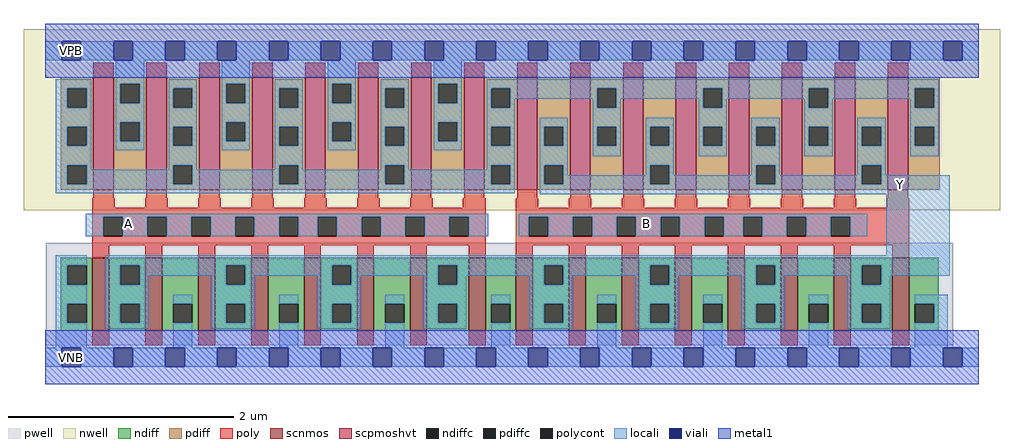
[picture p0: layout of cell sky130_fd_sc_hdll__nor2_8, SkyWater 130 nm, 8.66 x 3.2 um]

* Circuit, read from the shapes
.subckt sky130_fd_sc_hdll__nor2_8 A B VGND VNB VPB VPWR Y
XM1 Y A VGND VNB sky130_fd_pr__nfet_01v8 w=0.65 l=0.15 m=8
XM2 Y B VGND VNB sky130_fd_pr__nfet_01v8 w=0.65 l=0.15 m=8
XM3 VPWR A n1 VPB sky130_fd_pr__pfet_01v8_hvt w=1 l=0.18 m=8
XM4 Y B n1 VPB sky130_fd_pr__pfet_01v8_hvt w=1 l=0.18 m=8
.ends

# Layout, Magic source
magic
tech sky130A
magscale 1 2
<< nwell >>
rect -38 261 1694 582
<< pwell >>
rect 1 21 1611 203
rect 29 -17 63 21
<< scnmos >>
rect 83 47 113 177
rect 177 47 207 177
rect 271 47 301 177
rect 365 47 395 177
rect 459 47 489 177
rect 553 47 583 177
rect 647 47 677 177
rect 751 47 781 177
rect 835 47 865 177
rect 929 47 959 177
rect 1023 47 1053 177
rect 1117 47 1147 177
rect 1211 47 1241 177
rect 1305 47 1335 177
rect 1399 47 1429 177
rect 1503 47 1533 177
<< scpmoshvt >>
rect 85 297 121 497
rect 179 297 215 497
rect 273 297 309 497
rect 367 297 403 497
rect 461 297 497 497
rect 555 297 591 497
rect 649 297 685 497
rect 743 297 779 497
rect 837 297 873 497
rect 931 297 967 497
rect 1025 297 1061 497
rect 1119 297 1155 497
rect 1213 297 1249 497
rect 1307 297 1343 497
rect 1401 297 1437 497
rect 1495 297 1531 497
<< ndiff >>
rect 27 163 83 177
rect 27 129 39 163
rect 73 129 83 163
rect 27 95 83 129
rect 27 61 39 95
rect 73 61 83 95
rect 27 47 83 61
rect 113 163 177 177
rect 113 129 133 163
rect 167 129 177 163
rect 113 95 177 129
rect 113 61 133 95
rect 167 61 177 95
rect 113 47 177 61
rect 207 95 271 177
rect 207 61 227 95
rect 261 61 271 95
rect 207 47 271 61
rect 301 163 365 177
rect 301 129 321 163
rect 355 129 365 163
rect 301 95 365 129
rect 301 61 321 95
rect 355 61 365 95
rect 301 47 365 61
rect 395 95 459 177
rect 395 61 415 95
rect 449 61 459 95
rect 395 47 459 61
rect 489 163 553 177
rect 489 129 509 163
rect 543 129 553 163
rect 489 95 553 129
rect 489 61 509 95
rect 543 61 553 95
rect 489 47 553 61
rect 583 95 647 177
rect 583 61 603 95
rect 637 61 647 95
rect 583 47 647 61
rect 677 163 751 177
rect 677 129 697 163
rect 731 129 751 163
rect 677 95 751 129
rect 677 61 697 95
rect 731 61 751 95
rect 677 47 751 61
rect 781 95 835 177
rect 781 61 791 95
rect 825 61 835 95
rect 781 47 835 61
rect 865 163 929 177
rect 865 129 885 163
rect 919 129 929 163
rect 865 95 929 129
rect 865 61 885 95
rect 919 61 929 95
rect 865 47 929 61
rect 959 95 1023 177
rect 959 61 979 95
rect 1013 61 1023 95
rect 959 47 1023 61
rect 1053 163 1117 177
rect 1053 129 1073 163
rect 1107 129 1117 163
rect 1053 95 1117 129
rect 1053 61 1073 95
rect 1107 61 1117 95
rect 1053 47 1117 61
rect 1147 95 1211 177
rect 1147 61 1167 95
rect 1201 61 1211 95
rect 1147 47 1211 61
rect 1241 163 1305 177
rect 1241 129 1261 163
rect 1295 129 1305 163
rect 1241 95 1305 129
rect 1241 61 1261 95
rect 1295 61 1305 95
rect 1241 47 1305 61
rect 1335 95 1399 177
rect 1335 61 1355 95
rect 1389 61 1399 95
rect 1335 47 1399 61
rect 1429 163 1503 177
rect 1429 129 1449 163
rect 1483 129 1503 163
rect 1429 95 1503 129
rect 1429 61 1449 95
rect 1483 61 1503 95
rect 1429 47 1503 61
rect 1533 95 1585 177
rect 1533 61 1543 95
rect 1577 61 1585 95
rect 1533 47 1585 61
<< pdiff >>
rect 27 477 85 497
rect 27 443 39 477
rect 73 443 85 477
rect 27 409 85 443
rect 27 375 39 409
rect 73 375 85 409
rect 27 341 85 375
rect 27 307 39 341
rect 73 307 85 341
rect 27 297 85 307
rect 121 485 179 497
rect 121 451 133 485
rect 167 451 179 485
rect 121 417 179 451
rect 121 383 133 417
rect 167 383 179 417
rect 121 297 179 383
rect 215 477 273 497
rect 215 443 227 477
rect 261 443 273 477
rect 215 409 273 443
rect 215 375 227 409
rect 261 375 273 409
rect 215 341 273 375
rect 215 307 227 341
rect 261 307 273 341
rect 215 297 273 307
rect 309 485 367 497
rect 309 451 321 485
rect 355 451 367 485
rect 309 417 367 451
rect 309 383 321 417
rect 355 383 367 417
rect 309 297 367 383
rect 403 477 461 497
rect 403 443 415 477
rect 449 443 461 477
rect 403 409 461 443
rect 403 375 415 409
rect 449 375 461 409
rect 403 341 461 375
rect 403 307 415 341
rect 449 307 461 341
rect 403 297 461 307
rect 497 485 555 497
rect 497 451 509 485
rect 543 451 555 485
rect 497 417 555 451
rect 497 383 509 417
rect 543 383 555 417
rect 497 297 555 383
rect 591 477 649 497
rect 591 443 603 477
rect 637 443 649 477
rect 591 409 649 443
rect 591 375 603 409
rect 637 375 649 409
rect 591 341 649 375
rect 591 307 603 341
rect 637 307 649 341
rect 591 297 649 307
rect 685 485 743 497
rect 685 451 697 485
rect 731 451 743 485
rect 685 417 743 451
rect 685 383 697 417
rect 731 383 743 417
rect 685 297 743 383
rect 779 477 837 497
rect 779 443 791 477
rect 825 443 837 477
rect 779 409 837 443
rect 779 375 791 409
rect 825 375 837 409
rect 779 341 837 375
rect 779 307 791 341
rect 825 307 837 341
rect 779 297 837 307
rect 873 409 931 497
rect 873 375 885 409
rect 919 375 931 409
rect 873 341 931 375
rect 873 307 885 341
rect 919 307 931 341
rect 873 297 931 307
rect 967 477 1025 497
rect 967 443 979 477
rect 1013 443 1025 477
rect 967 409 1025 443
rect 967 375 979 409
rect 1013 375 1025 409
rect 967 297 1025 375
rect 1061 409 1119 497
rect 1061 375 1073 409
rect 1107 375 1119 409
rect 1061 341 1119 375
rect 1061 307 1073 341
rect 1107 307 1119 341
rect 1061 297 1119 307
rect 1155 477 1213 497
rect 1155 443 1167 477
rect 1201 443 1213 477
rect 1155 409 1213 443
rect 1155 375 1167 409
rect 1201 375 1213 409
rect 1155 297 1213 375
rect 1249 409 1307 497
rect 1249 375 1261 409
rect 1295 375 1307 409
rect 1249 341 1307 375
rect 1249 307 1261 341
rect 1295 307 1307 341
rect 1249 297 1307 307
rect 1343 477 1401 497
rect 1343 443 1355 477
rect 1389 443 1401 477
rect 1343 409 1401 443
rect 1343 375 1355 409
rect 1389 375 1401 409
rect 1343 297 1401 375
rect 1437 409 1495 497
rect 1437 375 1449 409
rect 1483 375 1495 409
rect 1437 341 1495 375
rect 1437 307 1449 341
rect 1483 307 1495 341
rect 1437 297 1495 307
rect 1531 477 1587 497
rect 1531 443 1543 477
rect 1577 443 1587 477
rect 1531 409 1587 443
rect 1531 375 1543 409
rect 1577 375 1587 409
rect 1531 297 1587 375
<< ndiffc >>
rect 39 129 73 163
rect 39 61 73 95
rect 133 129 167 163
rect 133 61 167 95
rect 227 61 261 95
rect 321 129 355 163
rect 321 61 355 95
rect 415 61 449 95
rect 509 129 543 163
rect 509 61 543 95
rect 603 61 637 95
rect 697 129 731 163
rect 697 61 731 95
rect 791 61 825 95
rect 885 129 919 163
rect 885 61 919 95
rect 979 61 1013 95
rect 1073 129 1107 163
rect 1073 61 1107 95
rect 1167 61 1201 95
rect 1261 129 1295 163
rect 1261 61 1295 95
rect 1355 61 1389 95
rect 1449 129 1483 163
rect 1449 61 1483 95
rect 1543 61 1577 95
<< pdiffc >>
rect 39 443 73 477
rect 39 375 73 409
rect 39 307 73 341
rect 133 451 167 485
rect 133 383 167 417
rect 227 443 261 477
rect 227 375 261 409
rect 227 307 261 341
rect 321 451 355 485
rect 321 383 355 417
rect 415 443 449 477
rect 415 375 449 409
rect 415 307 449 341
rect 509 451 543 485
rect 509 383 543 417
rect 603 443 637 477
rect 603 375 637 409
rect 603 307 637 341
rect 697 451 731 485
rect 697 383 731 417
rect 791 443 825 477
rect 791 375 825 409
rect 791 307 825 341
rect 885 375 919 409
rect 885 307 919 341
rect 979 443 1013 477
rect 979 375 1013 409
rect 1073 375 1107 409
rect 1073 307 1107 341
rect 1167 443 1201 477
rect 1167 375 1201 409
rect 1261 375 1295 409
rect 1261 307 1295 341
rect 1355 443 1389 477
rect 1355 375 1389 409
rect 1449 375 1483 409
rect 1449 307 1483 341
rect 1543 443 1577 477
rect 1543 375 1577 409
<< poly >>
rect 85 497 121 523
rect 179 497 215 523
rect 273 497 309 523
rect 367 497 403 523
rect 461 497 497 523
rect 555 497 591 523
rect 649 497 685 523
rect 743 497 779 523
rect 837 497 873 523
rect 931 497 967 523
rect 1025 497 1061 523
rect 1119 497 1155 523
rect 1213 497 1249 523
rect 1307 497 1343 523
rect 1401 497 1437 523
rect 1495 497 1531 523
rect 85 282 121 297
rect 179 282 215 297
rect 273 282 309 297
rect 367 282 403 297
rect 461 282 497 297
rect 555 282 591 297
rect 649 282 685 297
rect 743 282 779 297
rect 837 282 873 297
rect 931 282 967 297
rect 1025 282 1061 297
rect 1119 282 1155 297
rect 1213 282 1249 297
rect 1307 282 1343 297
rect 1401 282 1437 297
rect 1495 282 1531 297
rect 83 265 123 282
rect 177 265 217 282
rect 271 265 311 282
rect 365 265 405 282
rect 459 265 499 282
rect 553 265 593 282
rect 647 265 687 282
rect 741 265 781 282
rect 83 249 781 265
rect 83 215 103 249
rect 137 215 181 249
rect 215 215 259 249
rect 293 215 337 249
rect 371 215 415 249
rect 449 215 483 249
rect 517 215 561 249
rect 595 215 639 249
rect 673 215 717 249
rect 751 215 781 249
rect 83 199 781 215
rect 83 177 113 199
rect 177 177 207 199
rect 271 177 301 199
rect 365 177 395 199
rect 459 177 489 199
rect 553 177 583 199
rect 647 177 677 199
rect 751 177 781 199
rect 835 265 875 282
rect 929 265 969 282
rect 1023 265 1063 282
rect 1117 265 1157 282
rect 1211 265 1251 282
rect 1305 265 1345 282
rect 1399 265 1439 282
rect 1493 265 1533 282
rect 835 249 1533 265
rect 835 215 858 249
rect 892 215 936 249
rect 970 215 1014 249
rect 1048 215 1092 249
rect 1126 215 1170 249
rect 1204 215 1238 249
rect 1272 215 1316 249
rect 1350 215 1394 249
rect 1428 215 1533 249
rect 835 199 1533 215
rect 835 177 865 199
rect 929 177 959 199
rect 1023 177 1053 199
rect 1117 177 1147 199
rect 1211 177 1241 199
rect 1305 177 1335 199
rect 1399 177 1429 199
rect 1503 177 1533 199
rect 83 21 113 47
rect 177 21 207 47
rect 271 21 301 47
rect 365 21 395 47
rect 459 21 489 47
rect 553 21 583 47
rect 647 21 677 47
rect 751 21 781 47
rect 835 21 865 47
rect 929 21 959 47
rect 1023 21 1053 47
rect 1117 21 1147 47
rect 1211 21 1241 47
rect 1305 21 1335 47
rect 1399 21 1429 47
rect 1503 21 1533 47
<< polycont >>
rect 103 215 137 249
rect 181 215 215 249
rect 259 215 293 249
rect 337 215 371 249
rect 415 215 449 249
rect 483 215 517 249
rect 561 215 595 249
rect 639 215 673 249
rect 717 215 751 249
rect 858 215 892 249
rect 936 215 970 249
rect 1014 215 1048 249
rect 1092 215 1126 249
rect 1170 215 1204 249
rect 1238 215 1272 249
rect 1316 215 1350 249
rect 1394 215 1428 249
<< locali >>
rect 0 527 29 561
rect 63 527 121 561
rect 155 527 213 561
rect 247 527 305 561
rect 339 527 397 561
rect 431 527 489 561
rect 523 527 581 561
rect 615 527 673 561
rect 707 527 765 561
rect 799 527 857 561
rect 891 527 949 561
rect 983 527 1041 561
rect 1075 527 1133 561
rect 1167 527 1225 561
rect 1259 527 1317 561
rect 1351 527 1409 561
rect 1443 527 1501 561
rect 1535 527 1593 561
rect 1627 527 1656 561
rect 18 477 81 493
rect 18 443 39 477
rect 73 443 81 477
rect 18 409 81 443
rect 18 375 39 409
rect 73 375 81 409
rect 18 341 81 375
rect 125 485 175 527
rect 125 451 133 485
rect 167 451 175 485
rect 125 417 175 451
rect 125 383 133 417
rect 167 383 175 417
rect 125 367 175 383
rect 219 477 269 493
rect 219 443 227 477
rect 261 443 269 477
rect 219 409 269 443
rect 219 375 227 409
rect 261 375 269 409
rect 18 307 39 341
rect 73 333 81 341
rect 219 341 269 375
rect 313 485 363 527
rect 313 451 321 485
rect 355 451 363 485
rect 313 417 363 451
rect 313 383 321 417
rect 355 383 363 417
rect 313 367 363 383
rect 407 477 457 493
rect 407 443 415 477
rect 449 443 457 477
rect 407 409 457 443
rect 407 375 415 409
rect 449 375 457 409
rect 219 333 227 341
rect 73 307 227 333
rect 261 333 269 341
rect 407 341 457 375
rect 501 485 551 527
rect 501 451 509 485
rect 543 451 551 485
rect 501 417 551 451
rect 501 383 509 417
rect 543 383 551 417
rect 501 367 551 383
rect 595 477 645 493
rect 595 443 603 477
rect 637 443 645 477
rect 595 409 645 443
rect 595 375 603 409
rect 637 375 645 409
rect 407 333 415 341
rect 261 307 415 333
rect 449 333 457 341
rect 595 341 645 375
rect 689 485 739 527
rect 689 451 697 485
rect 731 451 739 485
rect 689 417 739 451
rect 689 383 697 417
rect 731 383 739 417
rect 689 367 739 383
rect 783 477 1585 493
rect 783 443 791 477
rect 825 459 979 477
rect 825 443 833 459
rect 783 409 833 443
rect 971 443 979 459
rect 1013 459 1167 477
rect 1013 443 1021 459
rect 783 375 791 409
rect 825 375 833 409
rect 595 333 603 341
rect 449 307 603 333
rect 637 333 645 341
rect 783 341 833 375
rect 783 333 791 341
rect 637 307 791 333
rect 825 307 833 341
rect 18 291 833 307
rect 877 409 927 425
rect 877 375 885 409
rect 919 375 927 409
rect 877 341 927 375
rect 971 409 1021 443
rect 1159 443 1167 459
rect 1201 459 1355 477
rect 1201 443 1209 459
rect 971 375 979 409
rect 1013 375 1021 409
rect 971 357 1021 375
rect 1065 409 1115 425
rect 1065 375 1073 409
rect 1107 375 1115 409
rect 877 307 885 341
rect 919 323 927 341
rect 1065 341 1115 375
rect 1159 409 1209 443
rect 1347 443 1355 459
rect 1389 459 1543 477
rect 1389 443 1397 459
rect 1159 375 1167 409
rect 1201 375 1209 409
rect 1159 357 1209 375
rect 1253 409 1303 425
rect 1253 375 1261 409
rect 1295 375 1303 409
rect 1065 323 1073 341
rect 919 307 1073 323
rect 1107 323 1115 341
rect 1253 341 1303 375
rect 1347 409 1397 443
rect 1535 443 1543 459
rect 1577 443 1585 477
rect 1347 375 1355 409
rect 1389 375 1397 409
rect 1347 357 1397 375
rect 1441 409 1491 425
rect 1441 375 1449 409
rect 1483 375 1491 409
rect 1253 323 1261 341
rect 1107 307 1261 323
rect 1295 323 1303 341
rect 1441 341 1491 375
rect 1535 409 1585 443
rect 1535 375 1543 409
rect 1577 375 1585 409
rect 1535 357 1585 375
rect 1441 323 1449 341
rect 1295 307 1449 323
rect 1483 323 1491 341
rect 1483 307 1605 323
rect 877 289 1605 307
rect 72 249 786 255
rect 72 215 103 249
rect 137 215 181 249
rect 215 215 259 249
rect 293 215 337 249
rect 371 215 415 249
rect 449 215 483 249
rect 517 215 561 249
rect 595 215 639 249
rect 673 215 717 249
rect 751 215 786 249
rect 840 249 1458 255
rect 840 215 858 249
rect 892 215 936 249
rect 970 215 1014 249
rect 1048 215 1092 249
rect 1126 215 1170 249
rect 1204 215 1238 249
rect 1272 215 1316 249
rect 1350 215 1394 249
rect 1428 215 1458 249
rect 1492 181 1605 289
rect 18 163 73 181
rect 18 129 39 163
rect 18 95 73 129
rect 18 61 39 95
rect 18 17 73 61
rect 107 163 1605 181
rect 107 129 133 163
rect 167 145 321 163
rect 167 129 183 145
rect 107 95 183 129
rect 295 129 321 145
rect 355 145 509 163
rect 355 129 371 145
rect 107 61 133 95
rect 167 61 183 95
rect 107 51 183 61
rect 227 95 261 111
rect 227 17 261 61
rect 295 95 371 129
rect 483 129 509 145
rect 543 145 697 163
rect 543 129 559 145
rect 295 61 321 95
rect 355 61 371 95
rect 295 51 371 61
rect 415 95 449 111
rect 415 17 449 61
rect 483 95 559 129
rect 671 129 697 145
rect 731 145 885 163
rect 731 129 747 145
rect 483 61 509 95
rect 543 61 559 95
rect 483 51 559 61
rect 603 95 637 111
rect 603 17 637 61
rect 671 95 747 129
rect 859 129 885 145
rect 919 145 1073 163
rect 919 129 935 145
rect 671 61 697 95
rect 731 61 747 95
rect 671 51 747 61
rect 791 95 825 111
rect 791 17 825 61
rect 859 95 935 129
rect 1047 129 1073 145
rect 1107 145 1261 163
rect 1107 129 1123 145
rect 859 61 885 95
rect 919 61 935 95
rect 859 51 935 61
rect 979 95 1013 111
rect 979 17 1013 61
rect 1047 95 1123 129
rect 1235 129 1261 145
rect 1295 145 1449 163
rect 1295 129 1311 145
rect 1047 61 1073 95
rect 1107 61 1123 95
rect 1047 51 1123 61
rect 1167 95 1201 111
rect 1167 17 1201 61
rect 1235 95 1311 129
rect 1423 129 1449 145
rect 1483 145 1605 163
rect 1483 129 1499 145
rect 1235 61 1261 95
rect 1295 61 1311 95
rect 1235 51 1311 61
rect 1355 95 1389 111
rect 1355 17 1389 61
rect 1423 95 1499 129
rect 1423 61 1449 95
rect 1483 61 1499 95
rect 1423 51 1499 61
rect 1543 95 1601 111
rect 1577 61 1601 95
rect 1543 17 1601 61
rect 0 -17 29 17
rect 63 -17 121 17
rect 155 -17 213 17
rect 247 -17 305 17
rect 339 -17 397 17
rect 431 -17 489 17
rect 523 -17 581 17
rect 615 -17 673 17
rect 707 -17 765 17
rect 799 -17 857 17
rect 891 -17 949 17
rect 983 -17 1041 17
rect 1075 -17 1133 17
rect 1167 -17 1225 17
rect 1259 -17 1317 17
rect 1351 -17 1409 17
rect 1443 -17 1501 17
rect 1535 -17 1593 17
rect 1627 -17 1656 17
<< viali >>
rect 29 527 63 561
rect 121 527 155 561
rect 213 527 247 561
rect 305 527 339 561
rect 397 527 431 561
rect 489 527 523 561
rect 581 527 615 561
rect 673 527 707 561
rect 765 527 799 561
rect 857 527 891 561
rect 949 527 983 561
rect 1041 527 1075 561
rect 1133 527 1167 561
rect 1225 527 1259 561
rect 1317 527 1351 561
rect 1409 527 1443 561
rect 1501 527 1535 561
rect 1593 527 1627 561
rect 29 -17 63 17
rect 121 -17 155 17
rect 213 -17 247 17
rect 305 -17 339 17
rect 397 -17 431 17
rect 489 -17 523 17
rect 581 -17 615 17
rect 673 -17 707 17
rect 765 -17 799 17
rect 857 -17 891 17
rect 949 -17 983 17
rect 1041 -17 1075 17
rect 1133 -17 1167 17
rect 1225 -17 1259 17
rect 1317 -17 1351 17
rect 1409 -17 1443 17
rect 1501 -17 1535 17
rect 1593 -17 1627 17
<< metal1 >>
rect 0 561 1656 592
rect 0 527 29 561
rect 63 527 121 561
rect 155 527 213 561
rect 247 527 305 561
rect 339 527 397 561
rect 431 527 489 561
rect 523 527 581 561
rect 615 527 673 561
rect 707 527 765 561
rect 799 527 857 561
rect 891 527 949 561
rect 983 527 1041 561
rect 1075 527 1133 561
rect 1167 527 1225 561
rect 1259 527 1317 561
rect 1351 527 1409 561
rect 1443 527 1501 561
rect 1535 527 1593 561
rect 1627 527 1656 561
rect 0 496 1656 527
rect 0 17 1656 48
rect 0 -17 29 17
rect 63 -17 121 17
rect 155 -17 213 17
rect 247 -17 305 17
rect 339 -17 397 17
rect 431 -17 489 17
rect 523 -17 581 17
rect 615 -17 673 17
rect 707 -17 765 17
rect 799 -17 857 17
rect 891 -17 949 17
rect 983 -17 1041 17
rect 1075 -17 1133 17
rect 1167 -17 1225 17
rect 1259 -17 1317 17
rect 1351 -17 1409 17
rect 1443 -17 1501 17
rect 1535 -17 1593 17
rect 1627 -17 1656 17
rect 0 -48 1656 -17
<< labels >>
flabel locali s 1500 289 1534 323 0 FreeSans 400 0 0 0 Y
port 7 nsew signal output
flabel locali s 131 221 165 255 0 FreeSans 400 0 0 0 A
port 1 nsew signal input
flabel locali s 1049 221 1083 255 0 FreeSans 400 0 0 0 B
port 2 nsew signal input
flabel nwell s 29 527 63 561 0 FreeSans 200 0 0 0 VPB
port 5 nsew power bidirectional
flabel pwell s 29 -17 63 17 0 FreeSans 200 0 0 0 VNB
port 4 nsew ground bidirectional
flabel metal1 s 29 -17 63 17 0 FreeSans 200 0 0 0 VGND
port 3 nsew ground bidirectional
flabel metal1 s 29 527 63 561 0 FreeSans 200 0 0 0 VPWR
port 6 nsew power bidirectional
rlabel comment s 0 0 0 0 4 nor2_8
<< properties >>
string LEFsite unithd
string LEFclass CORE
string FIXED_BBOX 0 0 1656 544
string GDS_FILE $PDKPATH/libs.ref/sky130_fd_sc_hdll/gds/sky130_fd_sc_hdll.gds
string LEFsymmetry X Y R90
string GDS_END 2339746
string GDS_START 2327548
string LEFproperties maskLayoutSubType "abstract" prCellType "standard" originalViewName "layout"
<< end >>
